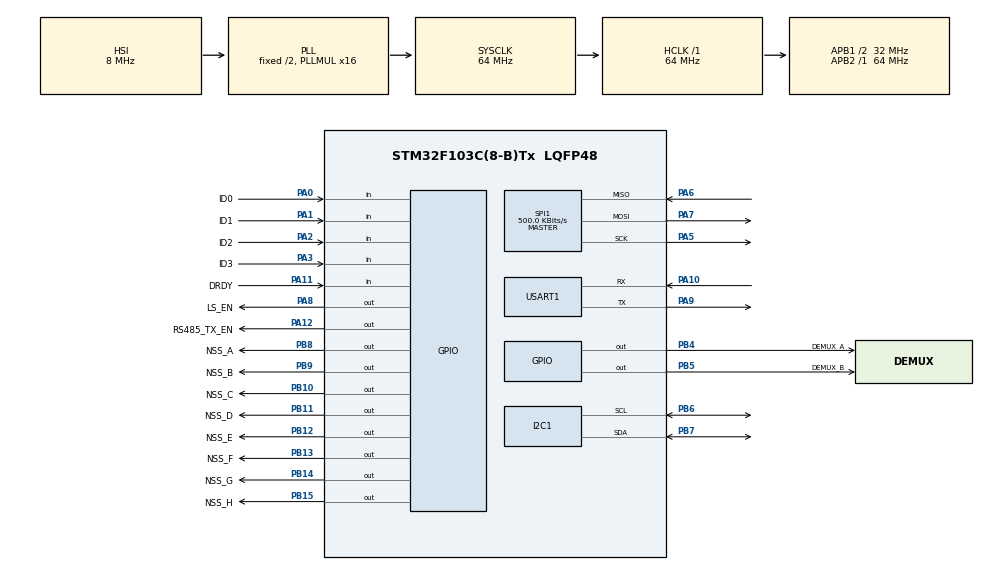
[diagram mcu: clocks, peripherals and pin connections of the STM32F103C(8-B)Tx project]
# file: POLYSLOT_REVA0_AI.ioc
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Mcu.Family=STM32F1
Mcu.Name=STM32F103C(8-B)Tx
Mcu.Package=LQFP48
NVIC.PriorityGroup=NVIC_PRIORITYGROUP_4
NVIC.USART1_IRQn=true\:0\:0\:false\:false\:true\:true\:true\:true
PA0-WKUP.GPIO_Label=ID0
PA0-WKUP.Signal=GPIO_Input
PA1.GPIO_Label=ID1
PA1.Signal=GPIO_Input
PA10.Mode=Asynchronous
PA10.Signal=USART1_RX
PA11.GPIO_Label=DRDY
PA11.Signal=GPIO_Input
PA12.GPIO_Label=RS485_TX_EN
PA12.Signal=GPIO_Output
PA13.Mode=Trace_Asynchronous_SW
PA13.Signal=SYS_JTMS-SWDIO
PA14.Mode=Trace_Asynchronous_SW
PA14.Signal=SYS_JTCK-SWCLK
PA2.GPIO_Label=ID2
PA2.Signal=GPIO_Input
PA3.GPIO_Label=ID3
PA3.Signal=GPIO_Input
PA5.Mode=Full_Duplex_Master
PA5.Signal=SPI1_SCK
PA6.Mode=Full_Duplex_Master
PA6.Signal=SPI1_MISO
PA7.Mode=Full_Duplex_Master
PA7.Signal=SPI1_MOSI
PA8.GPIO_Label=LS_EN
PA8.Signal=GPIO_Output
PA9.Mode=Asynchronous
PA9.Signal=USART1_TX
PB10.GPIO_Label=NSS_C
PB10.Signal=GPIO_Output
PB11.GPIO_Label=NSS_D
PB11.Signal=GPIO_Output
PB12.GPIO_Label=NSS_E
PB12.Signal=GPIO_Output
PB13.GPIO_Label=NSS_F
PB13.Signal=GPIO_Output
PB14.GPIO_Label=NSS_G
PB14.Signal=GPIO_Output
PB15.GPIO_Label=NSS_H
PB15.Signal=GPIO_Output
PB3.Mode=Trace_Asynchronous_SW
PB3.Signal=SYS_JTDO-TRACESWO
PB4.GPIO_Label=DEMUX_A
PB4.Signal=GPIO_Output
PB5.GPIO_Label=DEMUX_B
PB5.Signal=GPIO_Output
PB6.Mode=I2C
PB6.Signal=I2C1_SCL
PB7.Mode=I2C
PB7.Signal=I2C1_SDA
PB8.GPIO_Label=NSS_A
PB8.Signal=GPIO_Output
PB9.GPIO_Label=NSS_B
PB9.Signal=GPIO_Output
PC14-OSC32_IN.Mode=LSE-External-Oscillator
PC14-OSC32_IN.Signal=RCC_OSC32_IN
PC15-OSC32_OUT.Mode=LSE-External-Oscillator
PC15-OSC32_OUT.Signal=RCC_OSC32_OUT
ProjectManager.HeapSize=0x200
ProjectManager.StackSize=0x400
ProjectManager.TargetToolchain=STM32CubeIDE
RCC.AHBFreq_Value=64000000
RCC.APB1CLKDivider=RCC_HCLK_DIV2
RCC.APB1Freq_Value=32000000
RCC.APB1TimFreq_Value=64000000
RCC.APB2Freq_Value=64000000
RCC.APB2TimFreq_Value=64000000
RCC.HCLKFreq_Value=64000000
RCC.PLLMUL=RCC_PLL_MUL16
RCC.SYSCLKFreq_VALUE=64000000
RCC.SYSCLKSource=RCC_SYSCLKSOURCE_PLLCLK
RCC.USBFreq_Value=64000000
SPI1.BaudRatePrescaler=SPI_BAUDRATEPRESCALER_128
SPI1.CalculateBaudRate=500.0 KBits/s
SPI1.Direction=SPI_DIRECTION_2LINES
SPI1.Mode=SPI_MODE_MASTER
SPI1.VirtualType=VM_MASTER
USART1.VirtualMode=VM_ASYNC
board=custom

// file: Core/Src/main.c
/* USER CODE BEGIN Header */
/**
 ******************************************************************************
 * @file           : main.c
 * @brief          : Main program body
 ******************************************************************************
 * @attention
 *
 * Copyright (c) 2025 STMicroelectronics.
 * All rights reserved.
 *
 * This software is licensed under terms that can be found in the LICENSE file
 * in the root directory of this software component.
 * If no LICENSE file comes with this software, it is provided AS-IS.
 *
 ******************************************************************************
 */
/* USER CODE END Header */
#include "main.h"

/* USER CODE BEGIN Includes */
#include <stdio.h>
#include <string.h>
#include "MAX31865.h"
#include "MCP3204.h"
#include "pulse_counter.h"
#include "modbusSlave.h"
#include "polyslot.h"
#include "digitalIO.h"
#include "powermeter.h"

/* USER CODE END Includes */

/* USER CODE BEGIN PM */
#define EEPROM_ADDRESS  (0x50 << 1)
#define PUTCHAR_PROTOTYPE int __io_putchar(int ch)
/* USER CODE END PM */

I2C_HandleTypeDef hi2c1;

SPI_HandleTypeDef hspi1;

UART_HandleTypeDef huart1;

/* USER CODE BEGIN PV */
SLOT_CS slot_cs_array[MAX_CS] = {
		{NSS_A_GPIO_Port, NSS_A_Pin},
		{NSS_B_GPIO_Port, NSS_B_Pin},
		{NSS_C_GPIO_Port, NSS_C_Pin},
		{NSS_D_GPIO_Port, NSS_D_Pin},
		{NSS_E_GPIO_Port, NSS_E_Pin},
		{NSS_F_GPIO_Port, NSS_F_Pin},
		{NSS_G_GPIO_Port, NSS_G_Pin},
		{NSS_H_GPIO_Port, NSS_H_Pin}
};

bool coils_table[TOTAL_COILS];
bool contact_table[TOTAL_CONTACTS];
bool inputReg_table[TOTAL_INPUT_REGS];

enum slot installed_slot[8];

uint8_t RxData[256];
uint8_t TxData[256];

Max31865_t  pt100[MAX_CS][MAX_DEMUX];
Mcp3204_t analog[MAX_CS];
DigitalIO_t digitalIO[MAX_CS];
pulse_t counter[MAX_CS];
powermeter_t powermeter[MAX_CS];

/* USER CODE END PV */

void SystemClock_Config(void);
static void MX_GPIO_Init(void);
static void MX_I2C1_Init(void);
static void MX_SPI1_Init(void);
static void MX_USART1_UART_Init(void);

/* USER CODE BEGIN 0 */
void HAL_UARTEx_RxEventCallback(UART_HandleTypeDef *huart, uint16_t Size)
{
	uint8_t slaveId = Modbus_GetSlaveId();
	if (RxData[0] == slaveId)
	{
		switch (RxData[1]){
		case 0x01: 	//OK
			readCoils();
			break;
		case 0x02:	//OK
			readInputs();
			break;
		case 0x03:	//ok
			readHoldingRegs();
			break;
		case 0x04:	//OK
			readInputRegs();
			break;
		case 0x05:	//ok
			writeSingleCoil();
			break;
		case 0x06:	//ok
			writeSingleReg();
			break;
		case 0x0F:	//ok //15
			writeMultiCoils();
			break;
		case 0x10:	//ok //16
			writeHoldingRegs();
			break;
		default:
			modbusException(ILLEGAL_FUNCTION);
			break;
		}
	}

	HAL_UARTEx_ReceiveToIdle_IT(&huart1, RxData, 256);
}

void slot_poll(){
	uint8_t vartype=0;
	for (uint8_t i = 0; i < NUM_SLOT; i++) {
		HAL_GPIO_WritePin(slot_cs_array[i].NSS_Port, slot_cs_array[i].NSS_Pin, GPIO_PIN_RESET);
		HAL_Delay(10);

		vartype = HAL_GPIO_ReadPin(ID3_GPIO_Port, ID3_Pin)<<3;
		vartype |= (HAL_GPIO_ReadPin(ID2_GPIO_Port, ID2_Pin)<<2);
		vartype |= (HAL_GPIO_ReadPin(ID1_GPIO_Port, ID1_Pin)<<1);
		vartype |= HAL_GPIO_ReadPin(ID0_GPIO_Port, ID0_Pin);

		HAL_GPIO_WritePin(slot_cs_array[i].NSS_Port, slot_cs_array[i].NSS_Pin, GPIO_PIN_SET);
		HAL_Delay(10);

		switch(vartype){
		case 7: //cassandra
			installed_slot[i]=cassandra;
			//azione
			break;
		case 8: //power meter
			installed_slot[i] = powermeter_board;
			// Abilita i registri di input per questo slot nella zona powermeter: indici da INPUTREG_ANALOG_COUNT + i*PM_REGS_PER_SLOT
			memset(inputReg_table + INPUTREG_ANALOG_COUNT + (i * PM_REGS_PER_SLOT),true,PM_REGS_PER_SLOT);
			// Inizializza driver powermeter per questo slot
			powermeter_init(&powermeter[i],&hspi1,slot_cs_array[i].NSS_Port,slot_cs_array[i].NSS_Pin,i);
			break;
		case 9: //analog input
			installed_slot[i]=analog_board;
			memset(inputReg_table+(i*REG_PER_SLOT),true,REG_PER_SLOT);
			Mcp3204_init(&(analog[i]),&hspi1,slot_cs_array[i].NSS_Port,slot_cs_array[i].NSS_Pin);
			break;
		case 10: //PT100
			installed_slot[i]=pt100_board;
			memset(inputReg_table+(i*REG_PER_SLOT),true,REG_PER_SLOT);
			Max31865_init(&(pt100[i][0]),&hspi1,slot_cs_array[i].NSS_Port,slot_cs_array[i].NSS_Pin,0,MAX31865_2WIRE,FILT50HZ);
			Max31865_init(&(pt100[i][1]),&hspi1,slot_cs_array[i].NSS_Port,slot_cs_array[i].NSS_Pin,1,MAX31865_2WIRE,FILT50HZ);
			Max31865_init(&(pt100[i][2]),&hspi1,slot_cs_array[i].NSS_Port,slot_cs_array[i].NSS_Pin,2,MAX31865_2WIRE,FILT50HZ);
			Max31865_init(&(pt100[i][3]),&hspi1,slot_cs_array[i].NSS_Port,slot_cs_array[i].NSS_Pin,3,MAX31865_2WIRE,FILT50HZ);
			break;
		case 11: //pulse counter
			installed_slot[i]=pulsecounter;
			memset(inputReg_table+(i*REG_PER_SLOT),true,REG_PER_SLOT);
			counter_init(&(counter[i]),&hspi1,slot_cs_array[i].NSS_Port,slot_cs_array[i].NSS_Pin);
			break;
		case 12: //mixed IO
			installed_slot[i]=mixedIO;
			memset(coils_table+(i*BIT_PER_SLOT),true,HALF_BIT_PER_SLOT);
			memset(contact_table+(i*BIT_PER_SLOT)+HALF_BIT_PER_SLOT,true,HALF_BIT_PER_SLOT );
			digitalIO_Init(&(digitalIO[i]),&hspi1,slot_cs_array[i].NSS_Port,slot_cs_array[i].NSS_Pin, MIXED);
			break;
		case 13: //digital output
			installed_slot[i]=output;
			memset(coils_table+(i*BIT_PER_SLOT),true,BIT_PER_SLOT );
			digitalIO_Init(&(digitalIO[i]),&hspi1,slot_cs_array[i].NSS_Port,slot_cs_array[i].NSS_Pin, OUTPUT);
			break;
		case 14: //digital input
			installed_slot[i]=input;
			memset(contact_table+(i*BIT_PER_SLOT),true,BIT_PER_SLOT );
			digitalIO_Init(&(digitalIO[i]),&hspi1,slot_cs_array[i].NSS_Port,slot_cs_array[i].NSS_Pin, INPUT);
			break;
		default:
			installed_slot[i]=none;
			//azione
			break;
		}
	}
}

/* USER CODE END 0 */

int main(void)
{

  /* MCU Configuration--------------------------------------------------------*/

  /* Reset of all peripherals, Initializes the Flash interface and the Systick. */
  HAL_Init();

  /* Configure the system clock */
  SystemClock_Config();

  /* Initialize all configured peripherals */
  MX_GPIO_Init();
  MX_I2C1_Init();
  Modbus_LoadSlaveIdFromEeprom();
  MX_SPI1_Init();
  MX_USART1_UART_Init();
  /* USER CODE BEGIN 2 */
	HAL_GPIO_WritePin(LS_EN_GPIO_Port, LS_EN_Pin, GPIO_PIN_SET); //abilita i buffer dal micro verso la carrier board

	HAL_GPIO_WritePin(NSS_A_GPIO_Port, NSS_A_Pin, GPIO_PIN_SET); //disabilito tutti gli slot
	HAL_GPIO_WritePin(NSS_B_GPIO_Port, NSS_B_Pin, GPIO_PIN_SET);
	HAL_GPIO_WritePin(NSS_C_GPIO_Port, NSS_C_Pin, GPIO_PIN_SET);
	HAL_GPIO_WritePin(NSS_D_GPIO_Port, NSS_D_Pin, GPIO_PIN_SET);
	HAL_GPIO_WritePin(NSS_E_GPIO_Port, NSS_E_Pin, GPIO_PIN_SET);
	HAL_GPIO_WritePin(NSS_F_GPIO_Port, NSS_F_Pin, GPIO_PIN_SET);
	HAL_GPIO_WritePin(NSS_G_GPIO_Port, NSS_G_Pin, GPIO_PIN_SET);
	HAL_GPIO_WritePin(NSS_H_GPIO_Port, NSS_H_Pin, GPIO_PIN_SET);

	HAL_GPIO_WritePin(RS485_TX_EN_GPIO_Port,RS485_TX_EN_Pin,GPIO_PIN_SET); //deve essere sempre abilitato perchè il dispositivo è uno slave

	slot_poll();
	HAL_UARTEx_ReceiveToIdle_IT(&huart1, RxData, 256);
  /* USER CODE END 2 */

  /* Infinite loop */
	while (1)
	{

    /* USER CODE BEGIN 3 */
		Modbus_ProcessBackground();
	}
  /* USER CODE END 3 */
}

void SystemClock_Config(void)
{
  RCC_OscInitTypeDef RCC_OscInitStruct = {0};
  RCC_ClkInitTypeDef RCC_ClkInitStruct = {0};

  /** Initializes the RCC Oscillators according to the specified parameters
  * in the RCC_OscInitTypeDef structure.
  */
  RCC_OscInitStruct.OscillatorType = RCC_OSCILLATORTYPE_HSI;
  RCC_OscInitStruct.HSIState = RCC_HSI_ON;
  RCC_OscInitStruct.HSICalibrationValue = RCC_HSICALIBRATION_DEFAULT;
  RCC_OscInitStruct.PLL.PLLState = RCC_PLL_ON;
  RCC_OscInitStruct.PLL.PLLSource = RCC_PLLSOURCE_HSI_DIV2;
  RCC_OscInitStruct.PLL.PLLMUL = RCC_PLL_MUL16;
  if (HAL_RCC_OscConfig(&RCC_OscInitStruct) != HAL_OK)
  {
    Error_Handler();
  }

  /** Initializes the CPU, AHB and APB buses clocks
  */
  RCC_ClkInitStruct.ClockType = RCC_CLOCKTYPE_HCLK|RCC_CLOCKTYPE_SYSCLK
                              |RCC_CLOCKTYPE_PCLK1|RCC_CLOCKTYPE_PCLK2;
  RCC_ClkInitStruct.SYSCLKSource = RCC_SYSCLKSOURCE_PLLCLK;
  RCC_ClkInitStruct.AHBCLKDivider = RCC_SYSCLK_DIV1;
  RCC_ClkInitStruct.APB1CLKDivider = RCC_HCLK_DIV2;
  RCC_ClkInitStruct.APB2CLKDivider = RCC_HCLK_DIV1;

  if (HAL_RCC_ClockConfig(&RCC_ClkInitStruct, FLASH_LATENCY_2) != HAL_OK)
  {
    Error_Handler();
  }
}

static void MX_I2C1_Init(void)
{

  hi2c1.Instance = I2C1;
  hi2c1.Init.ClockSpeed = 100000;
  hi2c1.Init.DutyCycle = I2C_DUTYCYCLE_2;
  hi2c1.Init.OwnAddress1 = 0;
  hi2c1.Init.AddressingMode = I2C_ADDRESSINGMODE_7BIT;
  hi2c1.Init.DualAddressMode = I2C_DUALADDRESS_DISABLE;
  hi2c1.Init.OwnAddress2 = 0;
  hi2c1.Init.GeneralCallMode = I2C_GENERALCALL_DISABLE;
  hi2c1.Init.NoStretchMode = I2C_NOSTRETCH_DISABLE;
  if (HAL_I2C_Init(&hi2c1) != HAL_OK)
  {
    Error_Handler();
  }

}

static void MX_SPI1_Init(void)
{

  /* SPI1 parameter configuration*/
  hspi1.Instance = SPI1;
  hspi1.Init.Mode = SPI_MODE_MASTER;
  hspi1.Init.Direction = SPI_DIRECTION_2LINES;
  hspi1.Init.DataSize = SPI_DATASIZE_8BIT;
  hspi1.Init.CLKPolarity = SPI_POLARITY_LOW;
  hspi1.Init.CLKPhase = SPI_PHASE_1EDGE;
  hspi1.Init.NSS = SPI_NSS_SOFT;
  hspi1.Init.BaudRatePrescaler = SPI_BAUDRATEPRESCALER_128;
  hspi1.Init.FirstBit = SPI_FIRSTBIT_MSB;
  hspi1.Init.TIMode = SPI_TIMODE_DISABLE;
  hspi1.Init.CRCCalculation = SPI_CRCCALCULATION_DISABLE;
  hspi1.Init.CRCPolynomial = 10;
  if (HAL_SPI_Init(&hspi1) != HAL_OK)
  {
    Error_Handler();
  }

}

static void MX_USART1_UART_Init(void)
{

  huart1.Instance = USART1;
  huart1.Init.BaudRate = 115200;
  huart1.Init.WordLength = UART_WORDLENGTH_8B;
  huart1.Init.StopBits = UART_STOPBITS_1;
  huart1.Init.Parity = UART_PARITY_NONE;
  huart1.Init.Mode = UART_MODE_TX_RX;
  huart1.Init.HwFlowCtl = UART_HWCONTROL_NONE;
  huart1.Init.OverSampling = UART_OVERSAMPLING_16;
  if (HAL_UART_Init(&huart1) != HAL_OK)
  {
    Error_Handler();
  }

}

static void MX_GPIO_Init(void)
{
  GPIO_InitTypeDef GPIO_InitStruct = {0};

  /* GPIO Ports Clock Enable */
  __HAL_RCC_GPIOC_CLK_ENABLE();
  __HAL_RCC_GPIOA_CLK_ENABLE();
  __HAL_RCC_GPIOB_CLK_ENABLE();

  /*Configure GPIO pin Output Level */
  HAL_GPIO_WritePin(GPIOB, NSS_C_Pin|NSS_D_Pin|NSS_E_Pin|NSS_F_Pin
                          |NSS_G_Pin|NSS_H_Pin|DEMUX_A_Pin|DEMUX_B_Pin
                          |NSS_A_Pin|NSS_B_Pin, GPIO_PIN_RESET);

  /*Configure GPIO pin Output Level */
  HAL_GPIO_WritePin(GPIOA, LS_EN_Pin|RS485_TX_EN_Pin, GPIO_PIN_RESET);

  /*Configure GPIO pins : ID0_Pin ID1_Pin ID2_Pin ID3_Pin
                           DRDY_Pin */
  GPIO_InitStruct.Pin = ID0_Pin|ID1_Pin|ID2_Pin|ID3_Pin
                          |DRDY_Pin;
  GPIO_InitStruct.Mode = GPIO_MODE_INPUT;
  GPIO_InitStruct.Pull = GPIO_NOPULL;
  HAL_GPIO_Init(GPIOA, &GPIO_InitStruct);

  /*Configure GPIO pins : NSS_C_Pin NSS_D_Pin NSS_E_Pin NSS_F_Pin
                           NSS_G_Pin NSS_H_Pin DEMUX_A_Pin DEMUX_B_Pin
                           NSS_A_Pin NSS_B_Pin */
  GPIO_InitStruct.Pin = NSS_C_Pin|NSS_D_Pin|NSS_E_Pin|NSS_F_Pin
                          |NSS_G_Pin|NSS_H_Pin|DEMUX_A_Pin|DEMUX_B_Pin
                          |NSS_A_Pin|NSS_B_Pin;
  GPIO_InitStruct.Mode = GPIO_MODE_OUTPUT_PP;
  GPIO_InitStruct.Pull = GPIO_NOPULL;
  GPIO_InitStruct.Speed = GPIO_SPEED_FREQ_LOW;
  HAL_GPIO_Init(GPIOB, &GPIO_InitStruct);

  /*Configure GPIO pins : LS_EN_Pin RS485_TX_EN_Pin */
  GPIO_InitStruct.Pin = LS_EN_Pin|RS485_TX_EN_Pin;
  GPIO_InitStruct.Mode = GPIO_MODE_OUTPUT_PP;
  GPIO_InitStruct.Pull = GPIO_NOPULL;
  GPIO_InitStruct.Speed = GPIO_SPEED_FREQ_LOW;
  HAL_GPIO_Init(GPIOA, &GPIO_InitStruct);

}

/* USER CODE BEGIN 4 */
/*
int _write(int file, char *ptr, int len)
{
	(void)file;
	int DataIdx;

	for (DataIdx = 0; DataIdx < len; DataIdx++)
	{
		ITM_SendChar(*ptr++);
	}
	return len;
}
*/
PUTCHAR_PROTOTYPE
{
  /* Place your implementation of fputc here */
  /* e.g. write a character to the USART1 and Loop until the end of transmission */
  HAL_UART_Transmit(&huart1, (uint8_t *)&ch, 1, 0xFFFF);

  return ch;
}
/* USER CODE END 4 */

void Error_Handler(void)
{
	__disable_irq();
	while (1)
	{
	}
}
